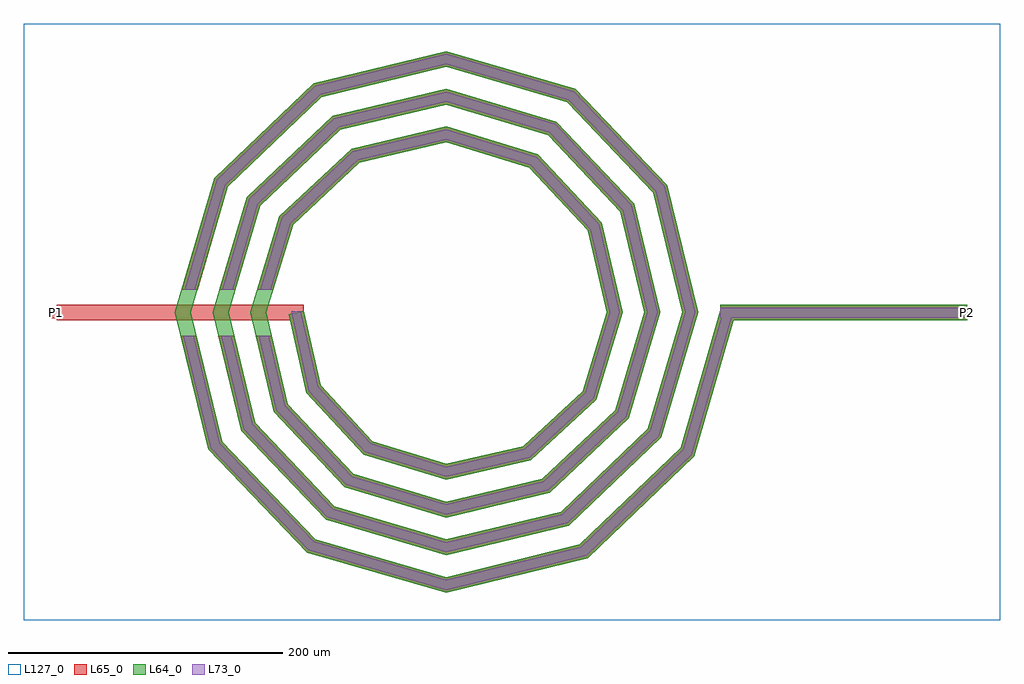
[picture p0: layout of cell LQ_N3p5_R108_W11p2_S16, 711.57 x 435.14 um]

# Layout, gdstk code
import gdstk
lib = gdstk.Library(unit=1e-6, precision=1e-09)
def R(c, l, rs):  # rectangles x0, y0, x1, y1
    for r in rs: c.add(gdstk.rectangle(r[:2], r[2:], *l))
def P(c, l, *ps):  # polygons
    for p in ps: c.add(gdstk.Polygon(p, *l))
L64_0 = (64, 0)
L65_0 = (65, 0)
L73_0 = (73, 0)
L127_0 = (127, 0)

lq_n3p5_r108_w11p2_s16 = lib.new_cell('LQ_N3p5_R108_W11p2_S16')
R(lq_n3p5_r108_w11p2_s16, L64_0, [(199.93,-5.6,379.93,5.6)])
P(lq_n3p5_r108_w11p2_s16, L64_0, [(-91.46,-53.061),(-53.826,-93.666),(0.214,-110.322),(56.489,-97.423),(99.615,-57.276),(117.2,0.202),(103.385,59.918),(60.724,105.566),(0.191,124.078),(-63.348,109.346),(-111.517,64.172),(-130.955,0.181),(-115.307,-66.778),(-67.618,-117.469),(0.173,-137.833),(70.21,-121.267),(123.422,-71.064),(144.711,0.165),(127.228,73.642),(74.51,129.374),(0.158,151.589),(-77.075,133.187),(-135.327,77.954),(-158.467,0.151),(-139.147,-80.508),(-81.399,-141.28),(0.145,-165.344),(83.942,-145.106),(147.234,-84.843),(172.222,0.139),(151.066,87.377),(88.286,153.188),(0.134,179.1),(-90.811,157.025),(-159.142,91.729),(-185.978,0.129),(-162.983,-94.246),(-95.172,-165.096),(0.125,-192.856),(97.681,-168.942),(171.05,-98.615),(200.153,1.562),(210.908,-1.562),(180.968,-104.623),(103.264,-179.105),(0.125,-204.449),(-101.187,-175.009),(-173.151,-99.821),(-197.571,0.129),(-169.05,97.752),(-96.378,167.196),(0.134,190.693),(94.318,163.091),(161.242,92.934),(183.815,0.139),(157.132,-90.883),(89.491,-155.288),(0.145,-176.936),(-87.449,-151.172),(-149.335,-86.047),(-170.058,0.151),(-145.213,84.015),(-82.602,143.381),(0.158,163.18),(80.582,139.253),(137.428,79.157),(156.302,0.165),(133.292,-77.15),(75.711,-131.475),(0.173,-149.424),(-73.717,-127.332),(-125.523,-72.265),(-142.546,0.181),(-121.37,70.286),(-68.818,119.571),(0.191,135.667),(66.856,115.409),(113.619,65.37),(128.789,0.202),(109.446,-63.426),(61.92,-107.668),(0.214,-121.911),(-59.998,-103.483),(-101.718,-58.47),(-114.7,-1.239),(-103.777,1.239)])
R(lq_n3p5_r108_w11p2_s16, L65_0, [(-283.639,-5.6,-103.639,5.6), (199.93,-5.6,379.93,5.6), (-287.639,-4,-279.639,4), (375.93,-4,383.93,4)])
P(lq_n3p5_r108_w11p2_s16, L65_0, [(-162.983,-94.246),(-95.172,-165.096),(0.125,-192.856),(97.681,-168.942),(171.05,-98.615),(200.153,1.562),(210.908,-1.562),(180.968,-104.623),(103.264,-179.105),(0.125,-204.449),(-101.187,-175.009),(-173.151,-99.821),(-193.435,-16.8),(-181.905,-16.8)],
  [(-139.147,-80.509),(-81.399,-141.28),(0.145,-165.344),(83.942,-145.106),(147.234,-84.843),(172.222,0.139),(151.066,87.377),(88.286,153.188),(0.134,179.1),(-90.811,157.025),(-159.142,91.729),(-181.032,16.8),(-192.7,16.8),(-169.05,97.752),(-96.378,167.196),(0.134,190.693),(94.318,163.091),(161.242,92.935),(183.815,0.139),(157.132,-90.883),(89.491,-155.289),(0.145,-176.936),(-87.449,-151.173),(-149.335,-86.047),(-165.983,-16.8),(-154.464,-16.8)],
  [(-115.307,-66.778),(-67.618,-117.469),(0.173,-137.833),(70.21,-121.268),(123.422,-71.064),(144.711,0.165),(127.228,73.642),(74.51,129.374),(0.158,151.589),(-77.075,133.188),(-135.327,77.954),(-153.445,16.8),(-165.126,16.8),(-145.213,84.015),(-82.602,143.381),(0.158,163.18),(80.582,139.253),(137.428,79.157),(156.302,0.165),(133.292,-77.15),(75.711,-131.475),(0.173,-149.424),(-73.718,-127.332),(-125.523,-72.265),(-138.556,-16.8),(-127.051,-16.8)],
  [(-53.826,-93.666),(0.214,-110.322),(56.489,-97.423),(99.616,-57.276),(117.2,0.202),(103.385,59.918),(60.724,105.566),(0.191,124.078),(-63.348,109.346),(-111.518,64.172),(-125.826,16.8),(-137.526,16.8),(-121.37,70.286),(-68.818,119.571),(0.191,135.667),(66.856,115.409),(113.619,65.37),(128.789,0.202),(109.446,-63.426),(61.92,-107.668),(0.214,-121.911),(-59.998,-103.483),(-101.718,-58.47),(-114.7,-1.239),(-103.777,1.239),(-91.46,-53.061)])
R(lq_n3p5_r108_w11p2_s16, L73_0, [(199.93,-3.6,379.93,3.6)])
P(lq_n3p5_r108_w11p2_s16, L73_0, [(-164.799,-95.242),(-96.246,-166.866),(0.08,-194.926),(98.678,-170.757),(172.821,-99.688),(202.073,1.004),(208.987,-1.004),(179.197,-103.55),(102.267,-177.29),(0.08,-202.379),(-100.113,-173.239),(-171.335,-98.826),(-191.376,-16.8),(-183.964,-16.8)],
  [(-140.966,-81.498),(-82.479,-143.047),(0.093,-167.414),(84.933,-146.925),(149.002,-85.921),(174.292,0.09),(152.883,88.369),(89.363,154.956),(0.086,181.17),(-91.805,158.841),(-160.911,92.805),(-183.116,16.8),(-190.617,16.8),(-167.281,96.677),(-95.384,165.38),(0.086,188.623),(93.241,161.323),(159.425,91.942),(181.745,0.09),(155.364,-89.805),(88.5,-153.47),(0.093,-174.866),(-86.369,-149.406),(-147.516,-85.058),(-163.926,-16.8),(-156.521,-16.8)],
  [(-117.131,-67.758),(-68.708,-119.23),(0.111,-139.903),(71.192,-123.09),(125.184,-72.151),(146.781,0.106),(129.049,74.627),(75.594,131.138),(0.101,153.659),(-78.062,135.008),(-137.092,79.037),(-155.531,16.8),(-163.04,16.8),(-143.447,82.933),(-81.615,141.561),(0.101,161.11),(79.498,137.489),(135.607,78.172),(154.232,0.106),(131.53,-76.063),(74.729,-129.653),(0.111,-147.354),(-72.628,-125.57),(-123.699,-71.285),(-136.501,-16.8),(-129.105,-16.8)],
  [(-54.928,-95.419),(0.137,-112.392),(57.459,-99.252),(101.371,-58.374),(119.27,0.13),(105.212,60.891),(61.819,107.324),(0.123,126.147),(-64.324,111.172),(-113.277,65.264),(-127.915,16.8),(-135.437,16.8),(-119.611,69.194),(-67.841,117.745),(0.123,133.598),(65.761,113.651),(111.792,64.396),(126.72,0.13),(107.691,-62.328),(60.951,-105.839),(0.137,-119.841),(-58.896,-101.73),(-99.886,-57.504),(-112.749,0.796),(-105.728,0.796),(-93.292,-54.027)])
R(lq_n3p5_r108_w11p2_s16, L127_0, [(-307.639,-224.449,403.93,210.693)])
lq_n3p5_r108_w11p2_s16.add(gdstk.Label('P2', (379.93,0), layer=65, texttype=0))
lq_n3p5_r108_w11p2_s16.add(gdstk.Label('P1', (-283.639,0), layer=65, texttype=0))
lq_n3p5_r108_w11p2_s16.add(gdstk.Label('P2', (383.93,0), layer=145, texttype=0))
lq_n3p5_r108_w11p2_s16.add(gdstk.Label('P1', (-287.639,0), layer=145, texttype=0))

lib.write_gds('LQ_N3p5_R108_W11p2_S16.gds')
